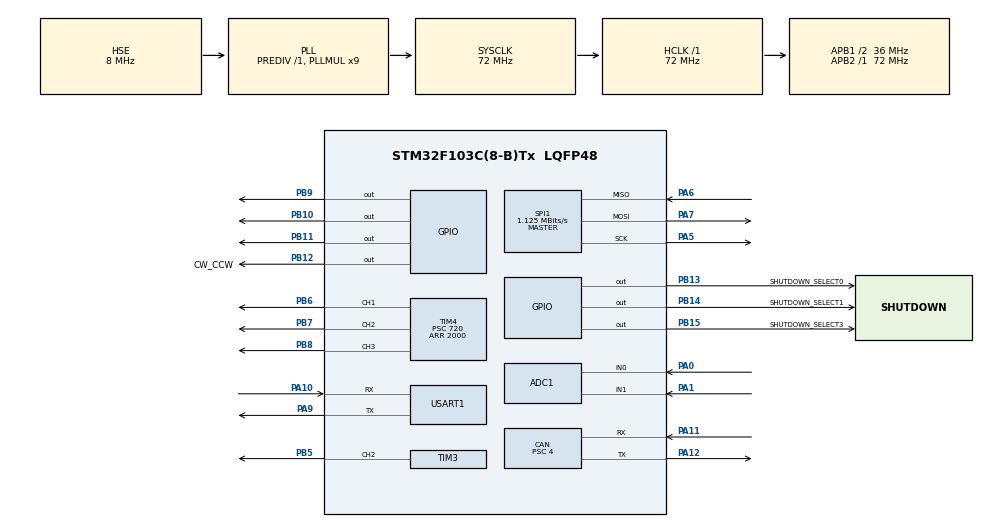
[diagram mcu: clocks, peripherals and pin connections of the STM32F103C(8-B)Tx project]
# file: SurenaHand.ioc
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ADC1.Channel-0\#ChannelRegularConversion=ADC_CHANNEL_0
ADC1.Channel-1\#ChannelRegularConversion=ADC_CHANNEL_1
ADC1.ContinuousConvMode=DISABLE
ADC1.NbrOfConversion=2
ADC1.NbrOfConversionFlag=1
ADC1.Rank-0\#ChannelRegularConversion=1
ADC1.Rank-1\#ChannelRegularConversion=2
ADC1.SamplingTime-0\#ChannelRegularConversion=ADC_SAMPLETIME_1CYCLE_5
ADC1.SamplingTime-1\#ChannelRegularConversion=ADC_SAMPLETIME_1CYCLE_5
ADC1.master=1
CAN.BS1=CAN_BS1_3TQ
CAN.BS2=CAN_BS2_5TQ
CAN.CalculateBaudRate=1000000
CAN.CalculateTimeBit=1000
CAN.CalculateTimeQuantum=111.11111111111111
CAN.Prescaler=4
Dma.ADC1.0.Direction=DMA_PERIPH_TO_MEMORY
Dma.ADC1.0.Instance=DMA1_Channel1
Dma.ADC1.0.MemDataAlignment=DMA_MDATAALIGN_HALFWORD
Dma.ADC1.0.MemInc=DMA_MINC_ENABLE
Dma.ADC1.0.Mode=DMA_NORMAL
Dma.ADC1.0.PeriphDataAlignment=DMA_PDATAALIGN_HALFWORD
Dma.ADC1.0.PeriphInc=DMA_PINC_DISABLE
Dma.ADC1.0.Priority=DMA_PRIORITY_LOW
Dma.Request0=ADC1
Mcu.Family=STM32F1
Mcu.Name=STM32F103C(8-B)Tx
Mcu.Package=LQFP48
NVIC.DMA1_Channel1_IRQn=true\:0\:0\:false\:false\:true\:false\:true\:true
NVIC.PriorityGroup=NVIC_PRIORITYGROUP_4
NVIC.USB_LP_CAN1_RX0_IRQn=true\:0\:0\:false\:false\:true\:true\:true\:true
PA0-WKUP.Signal=ADCx_IN0
PA1.Signal=ADCx_IN1
PA10.Mode=Asynchronous
PA10.Signal=USART1_RX
PA11.Mode=CAN_Activate
PA11.Signal=CAN_RX
PA12.Mode=CAN_Activate
PA12.Signal=CAN_TX
PA13.Mode=Trace_Asynchronous_SW
PA13.Signal=SYS_JTMS-SWDIO
PA14.Mode=Trace_Asynchronous_SW
PA14.Signal=SYS_JTCK-SWCLK
PA5.Mode=Full_Duplex_Master
PA5.Signal=SPI1_SCK
PA6.Mode=Full_Duplex_Master
PA6.Signal=SPI1_MISO
PA7.Mode=Full_Duplex_Master
PA7.Signal=SPI1_MOSI
PA9.Mode=Asynchronous
PA9.Signal=USART1_TX
PB10.GPIO_Speed=GPIO_SPEED_FREQ_HIGH
PB10.Signal=GPIO_Output
PB11.GPIO_Speed=GPIO_SPEED_FREQ_HIGH
PB11.Signal=GPIO_Output
PB12.GPIO_Label=CW_CCW
PB12.Signal=GPIO_Output
PB13.GPIO_Label=SHUTDOWN_SELECT0
PB13.Signal=GPIO_Output
PB14.GPIO_Label=SHUTDOWN_SELECT1
PB14.Signal=GPIO_Output
PB15.GPIO_Label=SHUTDOWN_SELECT3
PB15.Signal=GPIO_Output
PB3.Mode=Trace_Asynchronous_SW
PB3.Signal=SYS_JTDO-TRACESWO
PB5.Signal=S_TIM3_CH2
PB6.Signal=S_TIM4_CH1
PB7.Signal=S_TIM4_CH2
PB8.Signal=S_TIM4_CH3
PB9.GPIO_Speed=GPIO_SPEED_FREQ_HIGH
PB9.Signal=GPIO_Output
PD0-OSC_IN.Mode=HSE-External-Oscillator
PD0-OSC_IN.Signal=RCC_OSC_IN
PD1-OSC_OUT.Mode=HSE-External-Oscillator
PD1-OSC_OUT.Signal=RCC_OSC_OUT
ProjectManager.HeapSize=0x200
ProjectManager.StackSize=0x400
ProjectManager.TargetToolchain=STM32CubeIDE
RCC.ADCPresc=RCC_ADCPCLK2_DIV6
RCC.AHBFreq_Value=72000000
RCC.APB1CLKDivider=RCC_HCLK_DIV2
RCC.APB1Freq_Value=36000000
RCC.APB1TimFreq_Value=72000000
RCC.APB2Freq_Value=72000000
RCC.APB2TimFreq_Value=72000000
RCC.HCLKFreq_Value=72000000
RCC.PLLMUL=RCC_PLL_MUL9
RCC.PLLSourceVirtual=RCC_PLLSOURCE_HSE
RCC.SYSCLKFreq_VALUE=72000000
RCC.SYSCLKSource=RCC_SYSCLKSOURCE_PLLCLK
RCC.USBFreq_Value=72000000
SH.ADCx_IN0.0=ADC1_IN0,IN0
SH.ADCx_IN1.0=ADC1_IN1,IN1
SH.S_TIM3_CH2.0=TIM3_CH2,PWM Generation2 CH2
SH.S_TIM4_CH1.0=TIM4_CH1,PWM Generation1 CH1
SH.S_TIM4_CH2.0=TIM4_CH2,PWM Generation2 CH2
SH.S_TIM4_CH3.0=TIM4_CH3,PWM Generation3 CH3
SPI1.BaudRatePrescaler=SPI_BAUDRATEPRESCALER_64
SPI1.CalculateBaudRate=1.125 MBits/s
SPI1.Direction=SPI_DIRECTION_2LINES
SPI1.Mode=SPI_MODE_MASTER
SPI1.VirtualType=VM_MASTER
TIM3.Channel-PWM\ Generation2\ CH2=TIM_CHANNEL_2
TIM3.Period=2000
TIM3.Prescaler=720
TIM3.Pulse-PWM\ Generation2\ CH2=100
TIM4.Channel-PWM\ Generation1\ CH1=TIM_CHANNEL_1
TIM4.Channel-PWM\ Generation2\ CH2=TIM_CHANNEL_2
TIM4.Channel-PWM\ Generation3\ CH3=TIM_CHANNEL_3
TIM4.Period=2000
TIM4.Prescaler=720
TIM4.Pulse-PWM\ Generation1\ CH1=100
TIM4.Pulse-PWM\ Generation2\ CH2=100
TIM4.Pulse-PWM\ Generation3\ CH3=100
USART1.VirtualMode=VM_ASYNC
VP_TIM3_VS_ClockSourceINT.Mode=Internal
VP_TIM4_VS_ClockSourceINT.Mode=Internal
board=custom

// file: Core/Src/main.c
/* USER CODE BEGIN Header */
/**
  ******************************************************************************
  * @file           : main.c
  * @brief          : Main program body
  ******************************************************************************
  * @attention
  *
  * <h2><center>&copy; Copyright (c) 2022 STMicroelectronics.
  * All rights reserved.</center></h2>
  *
  * This software component is licensed by ST under BSD 3-Clause license,
  * the "License"; You may not use this file except in compliance with the
  * License. You may obtain a copy of the License at:
  *                        opensource.org/licenses/BSD-3-Clause
  *
  ******************************************************************************
  */
/* USER CODE END Header */
#include "main.h"

/* USER CODE BEGIN Includes */
#include <stdbool.h>
/* USER CODE END Includes */

/* USER CODE BEGIN PTD */
#include "BME.h"
/* USER CODE END PTD */

/* USER CODE BEGIN PM */
int i;
volatile int temperature_raw, pressure_raw, humidity_raw = 0;
int finaltemp = 0;
static int32_t finalpressure, final_humidity = 0;
/* USER CODE END PM */

ADC_HandleTypeDef hadc1;
DMA_HandleTypeDef hdma_adc1;

CAN_HandleTypeDef hcan;

SPI_HandleTypeDef hspi1;

TIM_HandleTypeDef htim3;
TIM_HandleTypeDef htim4;

UART_HandleTypeDef huart1;

/* USER CODE BEGIN PV */

int ServPosition =0;
bool CanFalg=0;
uint8_t ReceivedMsgCount=0;
bool direction=true;
uint8_t zeroValues[3]={100,100,100};
uint16_t ADCResult[3];
uint8_t TestCanMessage[8]={0x01,0x02,0x03,0x04,0x05,0x06,0x07,0x08};
/* USER CODE END PV */

void SystemClock_Config(void);
static void MX_GPIO_Init(void);
static void MX_DMA_Init(void);
static void MX_CAN_Init(void);
static void MX_TIM3_Init(void);
static void MX_TIM4_Init(void);
static void MX_USART1_UART_Init(void);
static void MX_SPI1_Init(void);
static void MX_ADC1_Init(void);

/* USER CODE BEGIN 0 */
void SetDirection(uint8_t dir)
{
	GPIOB->ODR &=~(1<<12);
	if(dir!=0)GPIOB->ODR |=(1<<12);
}
void SelectDriver(uint8_t value)
{
	value&=0x07;
	GPIOB->ODR &=~(0x07<<13);
	GPIOB->ODR |=(value<<13);
}
void SetServoPosition(uint8_t  *position)
{
	printf("p5= %d \n",(uint32_t)position[5]);
//	printf("r= %d %d %d \n",(uint32_t)position[0],(uint32_t)position[1],(uint32_t)position[2]);
//from 50 to 250
	TIM4->CCR1=position[0];//50+((position[0]>190)?190:position[0]);
	TIM4->CCR2=position[1];//50+((position[1]>190)?190:position[1]);
	TIM3->CCR2=position[2];//50+((position[2]>190)?190:position[2]);
	TIM4->CCR3=(position[3]<<8)+position[4];
	SetDirection(position[5]);
	SelectDriver(position[6]);

}

void SetPalmSpeed(uint8_t  pwm, uint8_t index )
{
	TIM4->CCR3=pwm;

}
//===========================================================================================================
void HAL_CAN_RxFifo0MsgPendingCallback(CAN_HandleTypeDef *hcan)
{
	static uint8_t debounce=0;
	uint8_t               RxData[8];
	CAN_RxHeaderTypeDef   RxHeader;
	HAL_CAN_GetRxMessage(hcan, CAN_RX_FIFO0, &RxHeader, RxData);
  // printf("header=%d \n",RxHeader.StdId);

//	CreateBuuffer(TestCanMessage, readPressure(2*index+1),readPressure(2*index+2));
//	CreateBuuffer(TestCanMessage, 111.123,222.333);
//	CanSendData(0x180+index ,TestCanMessage);
//	index++;
//	if(index==3)index=0;
	if(debounce++>4)
	{
	debounce=0;
	ReceivedMsgCount++;
	CanFalg=1;
	}
	if(RxHeader.StdId!=0x281)return;
	 SetServoPosition(RxData);

//	  CanSend(0x12);
}
//===========================================================================================================
//void canirq(CAN_HandleTypeDef *hcan)
//{
//	uint8_t               RxData[8];
//	CAN_RxHeaderTypeDef   RxHeader;
//	HAL_CAN_GetRxMessage(hcan, CAN_RX_FIFO0, &RxHeader, RxData);
////	  printf("header=%x",RxHeader);
//	  CanSend(0x12);
//}
//===========================================================================================================
//int _write(int file, char *ptr, int len)
//{
//  HAL_UART_Transmit(&huart1, (uint8_t *)ptr, len,5);
//  return  len;
//}
int _write(int file, char *ptr, int len)
{
  /* Implement your write code here, this is used by puts and printf for example */
  int i=0;
  for(i=0 ; i<len ; i++)
    ITM_SendChar((*ptr++));
  return len;
}
bool status=0;
int value[2]={420,7600};
//void SetServoValue(int command)
//{
////	if(command>420)command=420;
//	value[0]=420+command;
//	value[1]=8000-value[0];
//}
//===========================================================================================================
void HAL_TIM_PeriodElapsedCallback(TIM_HandleTypeDef *htim1)
{

//	 GPIOB->ODR^=(1<<7);
//	 TIM1->ARR=value[status];
//	 status=!status;

// HAL_GPIO_TogglePin(GPIOA, GPIO_PIN_5);
//	if(value<ServPosition)
//
//	 GPIOB->ODR|=(1<<7);
//	 else
//		 GPIOB->ODR&=~(1<<7);
//
//	if(value++ > 3990)value=0;

}
void SpiWrite(uint8_t index,uint8_t *data,int len)
{
	int offset=-1;
	//if(index==1)offset=1;
	SelectSensor(index+offset);
	HAL_SPI_Transmit(&hspi1, data, len, 1000); //CONFIG
	SelectSensor(index);
}

void SPIReadWrite(uint8_t index,uint8_t *txBuffer,uint8_t txLen,uint8_t *rxBuffer,uint8_t rxLen)
{
	HAL_Delay(5);
	int offset=-1;
	//if(index==1)offset=1;
	SelectSensor(index+offset);
	HAL_SPI_Transmit(&hspi1, txBuffer, txLen, 10);
	HAL_SPI_Receive(&hspi1, rxBuffer, rxLen, 200);
	SelectSensor(index);
	HAL_Delay(5);

}

//===========================================================================================================
void CanSend(uint32_t id)
{
	CAN_TxHeaderTypeDef   TxHeader;
	CAN_RxHeaderTypeDef   RxHeader;
	uint8_t               TxData[8];

	uint32_t              TxMailbox;
	  /*##-4- Start the Transmission process #####################################*/
	  TxHeader.StdId =id;
	  TxHeader.RTR = CAN_RTR_DATA;
	  TxHeader.IDE = CAN_ID_STD;
	  TxHeader.DLC = 2;
	  TxHeader.TransmitGlobalTime = DISABLE;
	  TxData[0] = 0xCA;
	  TxData[1] = 0xFE;

	  /* Request transmission */
	//  if(HAL_CAN_AddTxMessage(hcan, TxHeader, aData, pTxMailbox)(hcan, TxMailboxes), TxMailboxes))
	  if(HAL_CAN_AddTxMessage(&hcan, &TxHeader, &TxData, &TxMailbox) != HAL_OK)
	  {
	    /* Transmission request Error */
		  printf("can send error\n");
	  }
}

void CanSendData(uint32_t id,uint8_t *data)
{
	CAN_TxHeaderTypeDef   TxHeader;
	CAN_RxHeaderTypeDef   RxHeader;
//	uint8_t               TxData[8];

	uint32_t              TxMailbox;
	  /*##-4- Start the Transmission process #####################################*/
	  TxHeader.StdId =id;
	  TxHeader.RTR = CAN_RTR_DATA;
	  TxHeader.IDE = CAN_ID_STD;
	  TxHeader.DLC = 8;
	  TxHeader.TransmitGlobalTime = DISABLE;
//	  TxData[0] = 0xCA;
//	  TxData[1] = 0xFE;

	  /* Request transmission */
	//  if(HAL_CAN_AddTxMessage(hcan, TxHeader, aData, pTxMailbox)(hcan, TxMailboxes), TxMailboxes))
	  if(HAL_CAN_AddTxMessage(&hcan, &TxHeader, data, &TxMailbox) != HAL_OK)
	  {
	    /* Transmission request Error */
		  printf("can send error\n");
	  }
}
void HAL_ADC_ConvCpltCallback(ADC_HandleTypeDef* hadc)
{
//	__NOP();
	  printf("adc=%d %d %d\n",ADCResult[0],ADCResult[1],ADCResult[2]);

}
void CreateBuuffer(uint8_t* buffer, float a , float b)
{
    // Assuming each floating-point number is 4 bytes long (single precision)
    uint32_t a_uint = *((uint32_t*)&a); // Convert float to its binary representation
    uint32_t b_uint = *((uint32_t*)&b);

    // Copy the binary representation of 'a' and 'b' into the buffer
    memcpy(buffer, &a_uint, sizeof(float));
    memcpy(buffer + sizeof(float), &b_uint, sizeof(float));
}
//===========================================================================================================
/* USER CODE END 0 */

int main(void)
{
  /* USER CODE BEGIN 1 */
	float tfloat;
  /* USER CODE END 1 */

  /* MCU Configuration--------------------------------------------------------*/

  /* Reset of all peripherals, Initializes the Flash interface and the Systick. */
  HAL_Init();

  /* Configure the system clock */
  SystemClock_Config();

  /* Initialize all configured peripherals */
  MX_GPIO_Init();
  MX_DMA_Init();
  MX_CAN_Init();
  MX_TIM3_Init();
  MX_TIM4_Init();
  MX_USART1_UART_Init();
  MX_SPI1_Init();
  MX_ADC1_Init();

  /* Infinite loop */
  /* USER CODE BEGIN WHILE */
  HAL_Delay(1000);

  if (HAL_CAN_Start(&hcan) != HAL_OK)
    {
      /* Start Error */
	  printf("can start error\n");
    }
  else{
	  printf("can start ok!!!!!\n");
  }
 HAL_CAN_ActivateNotification(&hcan, CAN_IT_RX_FIFO0_MSG_PENDING);
  HAL_Delay(3000);
	 CanSend(0x11);
//	 HAL_TIM_Base_Start_IT(&htim1);
	 HAL_TIM_PWM_Start(&htim4, TIM_CHANNEL_3);
	 HAL_TIM_PWM_Start(&htim4, TIM_CHANNEL_2);
	 HAL_TIM_PWM_Start(&htim4, TIM_CHANNEL_1);
	 HAL_TIM_PWM_Start(&htim3, TIM_CHANNEL_2);
	 SetServoPosition(zeroValues);
		for(i=0;i<6;i++)
		{
			init(i+1);
			HAL_Delay(100);
		}
		TIM4->CCR3=1700;
		SelectDriver(1);
  while (1)
  {

//	  for(i=0;i<6;i++)
//	  {
////		  printf("%d\n",i);
//		  SelectDriver(i);
//			TIM4->CCR3=1800;
//			HAL_Delay(1);
//			readPressure(i+1);
//			//TIM4->CCR3=700;
//			//HAL_Delay(1);
//
//
//	  }
	  if(CanFalg){
		 CreateBuuffer(TestCanMessage,
				 readPressure(2*(ReceivedMsgCount%3)+1)
				 ,readPressure(2*(ReceivedMsgCount%3)+2));
	  	CanSendData(0x180+(ReceivedMsgCount%3) ,TestCanMessage);
	    printf("send=%d \n",ReceivedMsgCount);
	  	CanFalg=0;
	  }

//		CreateBuuffer(TestCanMessage, 333.456, 444.987);
//	    CanSendData(0x180 ,TestCanMessage);
//			HAL_Delay(200);
//			CreateBuuffer(TestCanMessage, 555.456, 666.987);
//			CanSendData(0x181 ,TestCanMessage);
//			HAL_Delay(200);
//			CreateBuuffer(TestCanMessage, 777.456, 888.987);
//			CanSendData(0x182 ,TestCanMessage);
//	  HAL_ADC_Start_DMA(&hadc1, (uint32_t*)ADCResult, 2);

	 // HAL_Delay(200);

//	  for(i=0;i<6;i++)
//	 	  {
//
//	 			TIM4->CCR3=1700;
//	 			SelectDriver(i+6);
//	 			HAL_Delay(3000);
//	 	  }
//		for(i=0;i<6;i++){
//				tfloat= readTemperature(i+1);
//
//				tfloat*=10;
//				finaltemp=tfloat;
//
//				tfloat=readPressure(i+1);
//				tfloat*=10;
//
//
//
////				printf("sensor:%d pressure=%f  temp=%f \n",i+1,readPressure(i+1),readTemperature(i+1));
//				finaltemp=0;
//				finalpressure=0;
//				final_humidity=0;
//				HAL_Delay(10);
//
//			}
    /* USER CODE END WHILE */

  }
}

void SystemClock_Config(void)
{
  RCC_OscInitTypeDef RCC_OscInitStruct = {0};
  RCC_ClkInitTypeDef RCC_ClkInitStruct = {0};
  RCC_PeriphCLKInitTypeDef PeriphClkInit = {0};

  /** Initializes the RCC Oscillators according to the specified parameters
  * in the RCC_OscInitTypeDef structure.
  */
  RCC_OscInitStruct.OscillatorType = RCC_OSCILLATORTYPE_HSE;
  RCC_OscInitStruct.HSEState = RCC_HSE_ON;
  RCC_OscInitStruct.HSEPredivValue = RCC_HSE_PREDIV_DIV1;
  RCC_OscInitStruct.HSIState = RCC_HSI_ON;
  RCC_OscInitStruct.PLL.PLLState = RCC_PLL_ON;
  RCC_OscInitStruct.PLL.PLLSource = RCC_PLLSOURCE_HSE;
  RCC_OscInitStruct.PLL.PLLMUL = RCC_PLL_MUL9;
  if (HAL_RCC_OscConfig(&RCC_OscInitStruct) != HAL_OK)
  {
    Error_Handler();
  }

  /** Initializes the CPU, AHB and APB buses clocks
  */
  RCC_ClkInitStruct.ClockType = RCC_CLOCKTYPE_HCLK|RCC_CLOCKTYPE_SYSCLK
                              |RCC_CLOCKTYPE_PCLK1|RCC_CLOCKTYPE_PCLK2;
  RCC_ClkInitStruct.SYSCLKSource = RCC_SYSCLKSOURCE_PLLCLK;
  RCC_ClkInitStruct.AHBCLKDivider = RCC_SYSCLK_DIV1;
  RCC_ClkInitStruct.APB1CLKDivider = RCC_HCLK_DIV2;
  RCC_ClkInitStruct.APB2CLKDivider = RCC_HCLK_DIV1;

  if (HAL_RCC_ClockConfig(&RCC_ClkInitStruct, FLASH_LATENCY_2) != HAL_OK)
  {
    Error_Handler();
  }
  PeriphClkInit.PeriphClockSelection = RCC_PERIPHCLK_ADC;
  PeriphClkInit.AdcClockSelection = RCC_ADCPCLK2_DIV6;
  if (HAL_RCCEx_PeriphCLKConfig(&PeriphClkInit) != HAL_OK)
  {
    Error_Handler();
  }
}

static void MX_ADC1_Init(void)
{

  ADC_ChannelConfTypeDef sConfig = {0};

  /** Common config
  */
  hadc1.Instance = ADC1;
  hadc1.Init.ScanConvMode = ADC_SCAN_ENABLE;
  hadc1.Init.ContinuousConvMode = DISABLE;
  hadc1.Init.DiscontinuousConvMode = DISABLE;
  hadc1.Init.ExternalTrigConv = ADC_SOFTWARE_START;
  hadc1.Init.DataAlign = ADC_DATAALIGN_RIGHT;
  hadc1.Init.NbrOfConversion = 2;
  if (HAL_ADC_Init(&hadc1) != HAL_OK)
  {
    Error_Handler();
  }

  /** Configure Regular Channel
  */
  sConfig.Channel = ADC_CHANNEL_0;
  sConfig.Rank = ADC_REGULAR_RANK_1;
  sConfig.SamplingTime = ADC_SAMPLETIME_1CYCLE_5;
  if (HAL_ADC_ConfigChannel(&hadc1, &sConfig) != HAL_OK)
  {
    Error_Handler();
  }

  /** Configure Regular Channel
  */
  sConfig.Channel = ADC_CHANNEL_1;
  sConfig.Rank = ADC_REGULAR_RANK_2;
  if (HAL_ADC_ConfigChannel(&hadc1, &sConfig) != HAL_OK)
  {
    Error_Handler();
  }

}

static void MX_CAN_Init(void)
{

  hcan.Instance = CAN1;
  hcan.Init.Prescaler = 4;
  hcan.Init.Mode = CAN_MODE_NORMAL;
  hcan.Init.SyncJumpWidth = CAN_SJW_1TQ;
  hcan.Init.TimeSeg1 = CAN_BS1_3TQ;
  hcan.Init.TimeSeg2 = CAN_BS2_5TQ;
  hcan.Init.TimeTriggeredMode = DISABLE;
  hcan.Init.AutoBusOff = DISABLE;
  hcan.Init.AutoWakeUp = DISABLE;
  hcan.Init.AutoRetransmission = DISABLE;
  hcan.Init.ReceiveFifoLocked = DISABLE;
  hcan.Init.TransmitFifoPriority = DISABLE;
  if (HAL_CAN_Init(&hcan) != HAL_OK)
  {
    Error_Handler();
  }
  /* USER CODE BEGIN CAN_Init 2 */
  CAN_FilterTypeDef canfil; //declare CAN filter structure
  canfil.FilterBank = 0;
  canfil.FilterMode = CAN_FILTERMODE_IDMASK;
  canfil.FilterFIFOAssignment = CAN_RX_FIFO0;
  canfil.FilterIdHigh = 0;
  canfil.FilterIdLow = 0;
  canfil.FilterMaskIdHigh = 0;
  canfil.FilterMaskIdLow = 0;
  canfil.FilterScale = CAN_FILTERSCALE_32BIT;
  canfil.FilterActivation = ENABLE;
  canfil.SlaveStartFilterBank = 14;

  	HAL_CAN_ConfigFilter(&hcan, &canfil); //configure CAN filter
  /* USER CODE END CAN_Init 2 */

}

static void MX_SPI1_Init(void)
{

  /* SPI1 parameter configuration*/
  hspi1.Instance = SPI1;
  hspi1.Init.Mode = SPI_MODE_MASTER;
  hspi1.Init.Direction = SPI_DIRECTION_2LINES;
  hspi1.Init.DataSize = SPI_DATASIZE_8BIT;
  hspi1.Init.CLKPolarity = SPI_POLARITY_LOW;
  hspi1.Init.CLKPhase = SPI_PHASE_1EDGE;
  hspi1.Init.NSS = SPI_NSS_SOFT;
  hspi1.Init.BaudRatePrescaler = SPI_BAUDRATEPRESCALER_64;
  hspi1.Init.FirstBit = SPI_FIRSTBIT_MSB;
  hspi1.Init.TIMode = SPI_TIMODE_DISABLE;
  hspi1.Init.CRCCalculation = SPI_CRCCALCULATION_DISABLE;
  hspi1.Init.CRCPolynomial = 10;
  if (HAL_SPI_Init(&hspi1) != HAL_OK)
  {
    Error_Handler();
  }

}

static void MX_TIM3_Init(void)
{

  TIM_ClockConfigTypeDef sClockSourceConfig = {0};
  TIM_MasterConfigTypeDef sMasterConfig = {0};
  TIM_OC_InitTypeDef sConfigOC = {0};

  htim3.Instance = TIM3;
  htim3.Init.Prescaler = 720;
  htim3.Init.CounterMode = TIM_COUNTERMODE_UP;
  htim3.Init.Period = 2000;
  htim3.Init.ClockDivision = TIM_CLOCKDIVISION_DIV1;
  htim3.Init.AutoReloadPreload = TIM_AUTORELOAD_PRELOAD_DISABLE;
  if (HAL_TIM_Base_Init(&htim3) != HAL_OK)
  {
    Error_Handler();
  }
  sClockSourceConfig.ClockSource = TIM_CLOCKSOURCE_INTERNAL;
  if (HAL_TIM_ConfigClockSource(&htim3, &sClockSourceConfig) != HAL_OK)
  {
    Error_Handler();
  }
  if (HAL_TIM_PWM_Init(&htim3) != HAL_OK)
  {
    Error_Handler();
  }
  sMasterConfig.MasterOutputTrigger = TIM_TRGO_RESET;
  sMasterConfig.MasterSlaveMode = TIM_MASTERSLAVEMODE_DISABLE;
  if (HAL_TIMEx_MasterConfigSynchronization(&htim3, &sMasterConfig) != HAL_OK)
  {
    Error_Handler();
  }
  sConfigOC.OCMode = TIM_OCMODE_PWM1;
  sConfigOC.Pulse = 100;
  sConfigOC.OCPolarity = TIM_OCPOLARITY_HIGH;
  sConfigOC.OCFastMode = TIM_OCFAST_DISABLE;
  if (HAL_TIM_PWM_ConfigChannel(&htim3, &sConfigOC, TIM_CHANNEL_2) != HAL_OK)
  {
    Error_Handler();
  }
  HAL_TIM_MspPostInit(&htim3);

}

static void MX_TIM4_Init(void)
{

  TIM_ClockConfigTypeDef sClockSourceConfig = {0};
  TIM_MasterConfigTypeDef sMasterConfig = {0};
  TIM_OC_InitTypeDef sConfigOC = {0};

  htim4.Instance = TIM4;
  htim4.Init.Prescaler = 720;
  htim4.Init.CounterMode = TIM_COUNTERMODE_UP;
  htim4.Init.Period = 2000;
  htim4.Init.ClockDivision = TIM_CLOCKDIVISION_DIV1;
  htim4.Init.AutoReloadPreload = TIM_AUTORELOAD_PRELOAD_DISABLE;
  if (HAL_TIM_Base_Init(&htim4) != HAL_OK)
  {
    Error_Handler();
  }
  sClockSourceConfig.ClockSource = TIM_CLOCKSOURCE_INTERNAL;
  if (HAL_TIM_ConfigClockSource(&htim4, &sClockSourceConfig) != HAL_OK)
  {
    Error_Handler();
  }
  if (HAL_TIM_PWM_Init(&htim4) != HAL_OK)
  {
    Error_Handler();
  }
  sMasterConfig.MasterOutputTrigger = TIM_TRGO_RESET;
  sMasterConfig.MasterSlaveMode = TIM_MASTERSLAVEMODE_DISABLE;
  if (HAL_TIMEx_MasterConfigSynchronization(&htim4, &sMasterConfig) != HAL_OK)
  {
    Error_Handler();
  }
  sConfigOC.OCMode = TIM_OCMODE_PWM1;
  sConfigOC.Pulse = 100;
  sConfigOC.OCPolarity = TIM_OCPOLARITY_HIGH;
  sConfigOC.OCFastMode = TIM_OCFAST_DISABLE;
  if (HAL_TIM_PWM_ConfigChannel(&htim4, &sConfigOC, TIM_CHANNEL_1) != HAL_OK)
  {
    Error_Handler();
  }
  if (HAL_TIM_PWM_ConfigChannel(&htim4, &sConfigOC, TIM_CHANNEL_2) != HAL_OK)
  {
    Error_Handler();
  }
  if (HAL_TIM_PWM_ConfigChannel(&htim4, &sConfigOC, TIM_CHANNEL_3) != HAL_OK)
  {
    Error_Handler();
  }
  HAL_TIM_MspPostInit(&htim4);

}

static void MX_USART1_UART_Init(void)
{

  huart1.Instance = USART1;
  huart1.Init.BaudRate = 115200;
  huart1.Init.WordLength = UART_WORDLENGTH_8B;
  huart1.Init.StopBits = UART_STOPBITS_1;
  huart1.Init.Parity = UART_PARITY_NONE;
  huart1.Init.Mode = UART_MODE_TX_RX;
  huart1.Init.HwFlowCtl = UART_HWCONTROL_NONE;
  huart1.Init.OverSampling = UART_OVERSAMPLING_16;
  if (HAL_UART_Init(&huart1) != HAL_OK)
  {
    Error_Handler();
  }

}

static void MX_DMA_Init(void)
{

  /* DMA controller clock enable */
  __HAL_RCC_DMA1_CLK_ENABLE();

  /* DMA interrupt init */
  /* DMA1_Channel1_IRQn interrupt configuration */
  HAL_NVIC_SetPriority(DMA1_Channel1_IRQn, 0, 0);
  HAL_NVIC_EnableIRQ(DMA1_Channel1_IRQn);

}

static void MX_GPIO_Init(void)
{
  GPIO_InitTypeDef GPIO_InitStruct = {0};

  /* GPIO Ports Clock Enable */
  __HAL_RCC_GPIOD_CLK_ENABLE();
  __HAL_RCC_GPIOA_CLK_ENABLE();
  __HAL_RCC_GPIOB_CLK_ENABLE();

  /*Configure GPIO pin Output Level */
  HAL_GPIO_WritePin(GPIOB, GPIO_PIN_10|GPIO_PIN_11|CW_CCW_Pin|SHUTDOWN_SELECT0_Pin
                          |SHUTDOWN_SELECT1_Pin|SHUTDOWN_SELECT3_Pin|GPIO_PIN_9, GPIO_PIN_RESET);

  /*Configure GPIO pins : PB10 PB11 PB9 */
  GPIO_InitStruct.Pin = GPIO_PIN_10|GPIO_PIN_11|GPIO_PIN_9;
  GPIO_InitStruct.Mode = GPIO_MODE_OUTPUT_PP;
  GPIO_InitStruct.Pull = GPIO_NOPULL;
  GPIO_InitStruct.Speed = GPIO_SPEED_FREQ_HIGH;
  HAL_GPIO_Init(GPIOB, &GPIO_InitStruct);

  /*Configure GPIO pins : CW_CCW_Pin SHUTDOWN_SELECT0_Pin SHUTDOWN_SELECT1_Pin SHUTDOWN_SELECT3_Pin */
  GPIO_InitStruct.Pin = CW_CCW_Pin|SHUTDOWN_SELECT0_Pin|SHUTDOWN_SELECT1_Pin|SHUTDOWN_SELECT3_Pin;
  GPIO_InitStruct.Mode = GPIO_MODE_OUTPUT_PP;
  GPIO_InitStruct.Pull = GPIO_NOPULL;
  GPIO_InitStruct.Speed = GPIO_SPEED_FREQ_LOW;
  HAL_GPIO_Init(GPIOB, &GPIO_InitStruct);

}

void Error_Handler(void)
{
  __disable_irq();
  while (1)
  {
  }
}
